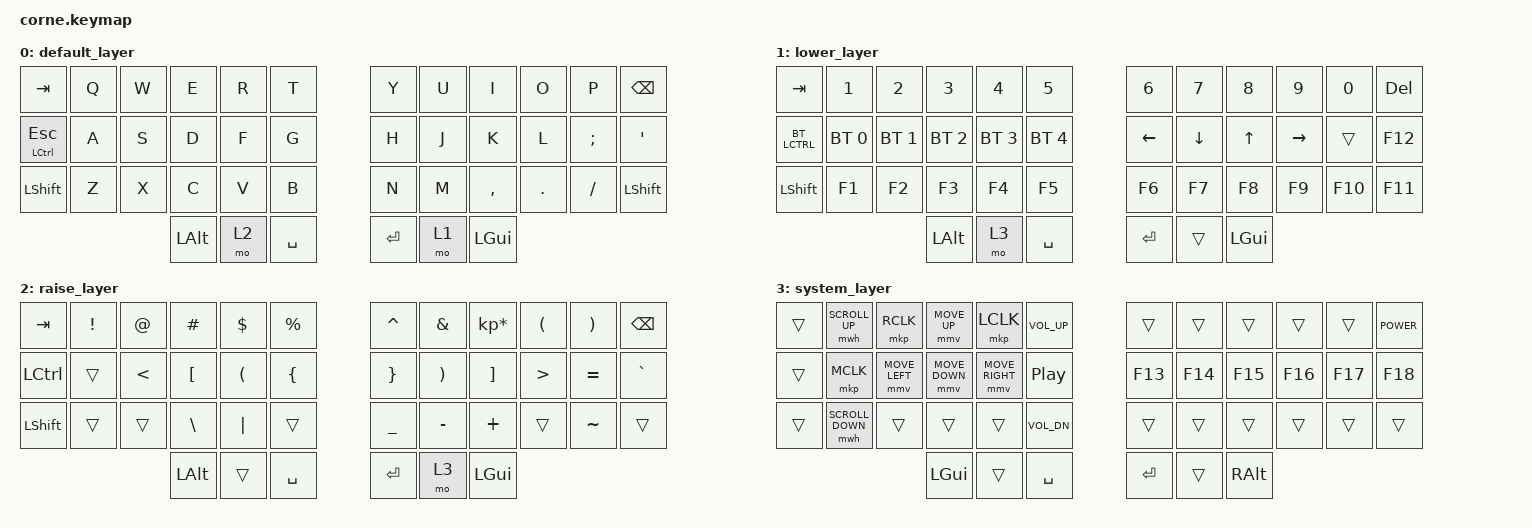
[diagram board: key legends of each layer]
/*
 * Copyright (c) 2020 The ZMK Contributors
 *
 * SPDX-License-Identifier: MIT
 */
#include <dt-bindings/zmk/mouse.h>
#include <behaviors.dtsi>
#include <dt-bindings/zmk/keys.h>
#include <dt-bindings/zmk/bt.h>

 &mmv {
     time-to-max-speed-ms = <500>;
 };

/ {
        behaviours {
            td0: tap_dance_power {
                compatible = "zmk,behavior-tap-dance";
                label = "TAP_DANCE_0";
                #binding-cells = <0>;
                tapping-term-ms = <200>;
                bindings = <&kp CAPS>, <&kp C_SLEEP>, <&kp C_POWER>;
            };
        };

        keymap {
                compatible = "zmk,keymap";

                default_layer {
// -----------------------------------------------------------------------------------------
// |  TAB |  Q  |  W  |  E  |  R  |  T  |   |  Y  |  U   |  I  |  O  |  P  | BKSP |
// | CTRL |  A  |  S  |  D  |  F  |  G  |   |  H  |  J   |  K  |  L  |  ;  |  '   |
// | SHFT |  Z  |  X  |  C  |  V  |  B  |   |  N  |  M   |  ,  |  .  |  /  | SHFT |
//                    | GUI | LWR | SPC |   | ENT | RSE  | ALT | 
                bindings = <
   &kp TAB   &kp Q &kp W &kp E &kp R &kp T   &kp Y &kp U  &kp I     &kp O   &kp P    &kp BSPC
   &mt LCTRL ESC &kp A &kp S &kp D &kp F &kp G   &kp H &kp J  &kp K     &kp L   &kp SEMI &kp SQT
   &kp LSHFT &kp Z &kp X &kp C &kp V &kp B   &kp N &kp M  &kp COMMA &kp DOT &kp FSLH &kp LSHFT
                  &kp LALT &mo 2 &kp SPACE   &kp RET &mo 1 &kp LGUI
                        >;
                };

                lower_layer {
// -----------------------------------------------------------------------------------------
// |  TAB |  1  |  2  |  3  |  4  |  5  |   |  6  |  7  |  8  |  9  |  0  | BKSP |
// | BTCLR| BT1 | BT2 | BT3 | BT4 | BT5 |   | LFT | DWN |  UP | RGT |     |      |
// | SHFT |     |     |     |     |     |   |     |     |     |     |     |      |
//                    | GUI |     | SPC |   | ENT |     | ALT |
                        bindings = <
   &kp TAB    &kp N1       &kp N2       &kp N3       &kp N4       &kp N5         &kp N6   &kp N7   &kp N8 &kp N9    &kp N0 &kp DELETE
   &bt LCTRL &bt BT_SEL 0 &bt BT_SEL 1 &bt BT_SEL 2 &bt BT_SEL 3 &bt BT_SEL 4   &kp LEFT &kp DOWN &kp UP &kp RIGHT &trans &kp F12
   &kp LSHFT  &kp F1       &kp F2       &kp F3       &kp F4       &kp F5         &kp F6   &kp F7   &kp F8 &kp F9   &kp F10 &kp F11
                                    &kp LALT     &mo 3       &kp SPACE      &kp RET  &trans   &kp LGUI
                        >;
                };

                raise_layer {
// -----------------------------------------------------------------------------------------
// |  TAB |  !  |  @  |  #  |  $  |  %  |   |  ^  |  &  |  *  |  (  |  )  | BKSP |
// | CTRL |     |  <  |  [  |  (  |  {  |   |  }  |  )  |  ]  |  >  |  =  |  `   |
// | SHFT |     |     |  \  |  |  |     |   |  _  |  -  |  +  |     |  $  |  ~   |
//                    | GUI |     | SPC |   | ENT |     | ALT |
                        bindings = <
   &kp  TAB  &kp EXCL &kp AT &kp HASH &kp DLLR &kp PRCNT   &kp CARET &kp AMPS  &kp KP_MULTIPLY &kp LPAR &kp RPAR &kp BSPC
   &kp LCTRL &trans   &kp LESS_THAN &kp LBKT &kp LPAR  &kp LEFT_BRACE  &kp RBRC   &kp RPAR &kp RBKT &kp GREATER_THAN &kp EQUAL &kp GRAVE
   &kp LSHFT &trans   &trans &kp BACKSLASH   &kp PIPE   &trans      &kp UNDER &kp MINUS  &kp PLUS        &trans  &kp TILDE &trans 
                             &kp LALT &trans   &kp SPACE   &kp RET   &mo 3    &kp LGUI
                        >;
                };

                system_layer {
// -----------------------------------------------------------------------------------------
// |  TAB |  !  |  @  |  #  |  $  |  %  |   |  ^  |  &  |  *  |  (  |  )  | BKSP |
// | CTRL |     |  <  |  [  |  (  |  {  |   |  }  |  )  |  ]  |  >  |  =  |  `   |
// | SHFT |     |     |  \  |  |  |     |   |  _  |  -  |  +  |     |     |  ~   |
//                    | GUI |     | SPC |   | ENT |     | ALT |
                        bindings = <
   &trans &mwh SCROLL_UP  &mkp RCLK &mmv MOVE_UP &mkp LCLK &kp C_VOL_UP    &trans &trans  &trans &trans &trans &kp C_POWER
   &trans &mkp MCLK   &mmv MOVE_LEFT &mmv MOVE_DOWN &mmv MOVE_RIGHT  &kp C_PP  &kp F13 &kp F14 &kp F15 &kp F16 &kp F17 &kp F18 
   &trans &mwh SCROLL_DOWN   &trans &trans   &trans   &kp C_VOL_DN      &trans &trans  &trans        &trans  &trans &trans
                             &kp LGUI &trans   &kp SPACE   &kp RET   &trans    &kp RALT
                        >;
                };
        };
};

